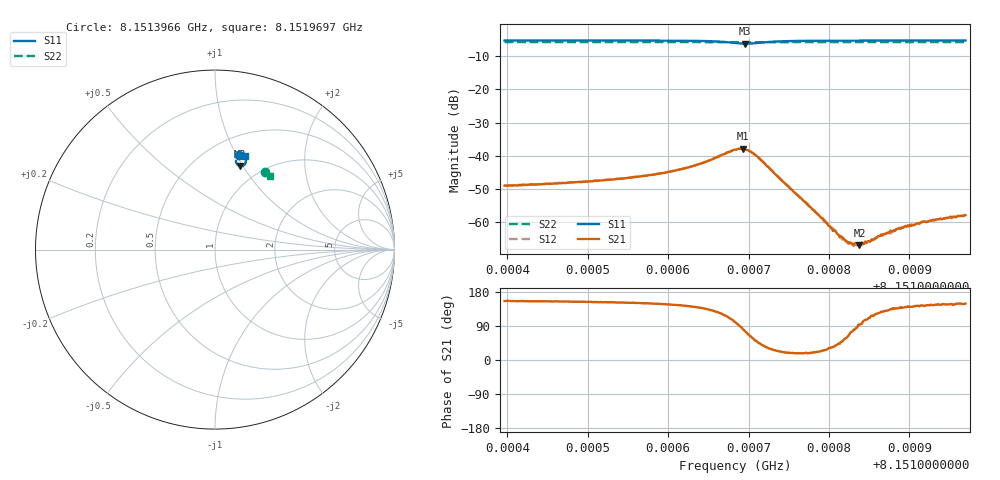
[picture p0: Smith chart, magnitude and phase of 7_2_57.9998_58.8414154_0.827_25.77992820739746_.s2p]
#  HZ  S  RI  R  50.00
! Rohde & Schwarz Vector Network Analyzer
! Rohde-Schwarz,ZNB20-2Port,1311601062101988,3.16
! Created: UTC 3/21/2024, 12:50:37 AM
! freq[Hz]  re:S11  im:S11  re:S21  im:S21  re:S12  im:S12  re:S22  im:S22
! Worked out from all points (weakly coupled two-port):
!   401 points, 8.1513966 GHz to 8.1519697 GHz, reference 50 ohm
!   highest |S21| = -37.88 dB at 8.1516932 GHz (marker M1); lowest = -67.0 dB at 8.1518379 GHz (marker M2)
!   lowest |S11| = -6.3 dB at 8.151696 GHz (marker M3), VSWR 2.89, Z = 39.7 + j48.5 ohm
!   |S11| at or under -10 dB: nowhere
!   |S22| runs from -5.8 to -5.8 dB; largest |S21 - S12| = 0.0003
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8.15139659e9  0.1363 0.5266  -0.00324 0.00146  -0.00323 0.00151  0.2773 0.433
8.15149258e9  0.1453 0.5241  -0.00361 0.00178  -0.00361 0.00183  0.2824 0.4295
8.15154273e9  0.1508 0.522  -0.004 0.00217  -0.00398 0.00222  0.2853 0.4276
8.15158858e9  0.1573 0.5186  -0.00456 0.00281  -0.00457 0.00292  0.2876 0.4257
8.15161436e9  0.1621 0.5151  -0.00506 0.0036  -0.00504 0.00367  0.2892 0.4246
8.15163872e9  0.1676 0.5087  -0.00558 0.005  -0.00554 0.00509  0.2903 0.4235
8.15168313e9  0.1618 0.4712  -0.00224 0.0122  -0.00215 0.0122  0.2917 0.4206
8.15169316e9  0.1435 0.4652  0.00205 0.0126  0.00197 0.0126  0.2916 0.4201
8.15169603e9  0.1374 0.4661  0.00323 0.0121  0.00315 0.0122  0.2914 0.4202
8.15170319e9  0.1247 0.4737  0.0055 0.0101  0.00567 0.00998  0.2915 0.4205
8.15171322e9  0.1173 0.4891  0.00651 0.00631  0.00668 0.00649  0.292 0.4209
8.15177912e9  0.1395 0.5204  0.00149 0.000514  0.00151 0.000526  0.2966 0.4193
8.15180205e9  0.1446 0.5212  0.000707 0.000437  0.000734 0.000441  0.298 0.4185
8.15182211e9  0.148 0.5213  0.000265 0.000445  0.000248 0.000434  0.2992 0.4177
8.1518307e9  0.1493 0.5212  8.22e-05 0.000463  7.42e-05 0.000429  0.2995 0.4172
8.15183787e9  0.1505 0.5211  -2.7e-05 0.000447  -7.45e-06 0.000487  0.2999 0.417
8.15184646e9  0.1516 0.5211  -0.000139 0.000464  -0.000152 0.000492  0.3004 0.4166
8.15186222e9  0.1537 0.521  -0.00035 0.000515  -0.00038 0.000498  0.3012 0.416
8.15187512e9  0.1551 0.5207  -0.00048 0.00052  -0.000451 0.000542  0.3019 0.4155
8.15188658e9  0.1566 0.5205  -0.000592 0.000545  -0.000572 0.000554  0.3025 0.415
8.15191523e9  0.1594 0.52  -0.000818 0.000591  -0.000801 0.000613  0.304 0.4139
8.15196967e9  0.1644 0.5189  -0.00109 0.00066  -0.0011 0.000691  0.3069 0.4117
